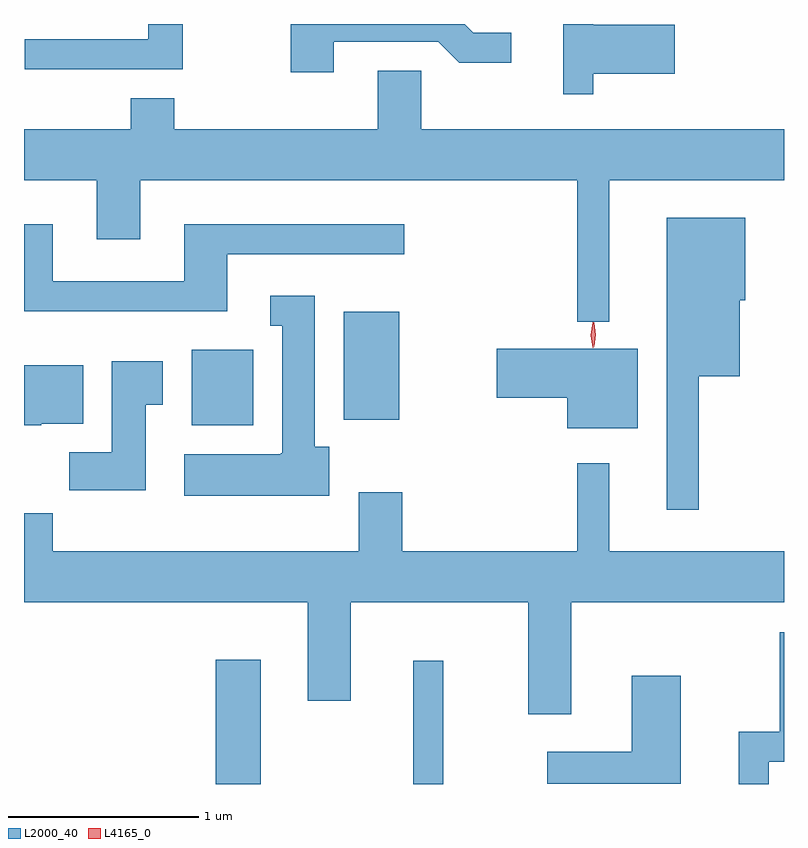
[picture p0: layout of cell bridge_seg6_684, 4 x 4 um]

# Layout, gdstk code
import gdstk
lib = gdstk.Library(unit=1e-6, precision=1e-09)
def R(c, l, rs):  # rectangles x0, y0, x1, y1
    for r in rs: c.add(gdstk.rectangle(r[:2], r[2:], *l))
def P(c, l, *ps):  # polygons
    for p in ps: c.add(gdstk.Polygon(p, *l))
L2000_40 = (2000, 40)
L4165_0 = (4165, 0)

bridge_seg6_684 = lib.new_cell('bridge_seg6_684')
R(bridge_seg6_684, L2000_40, [(211.966,1533.539,212.204,1534.194), (213.006,1533.539,213.164,1534.188), (211.841,1535.426,212.164,1535.824), (212.641,1535.456,212.934,1536.024)])
P(bridge_seg6_684, L2000_40, [(213.954,1537.276),(214.384,1537.276),(214.384,1537.534),(213.954,1537.534),(213.954,1537.539),(213.796,1537.539),(213.796,1537.168),(213.954,1537.168)],
  [(211.794,1537.539),(211.611,1537.539),(211.611,1537.459),(210.963,1537.459),(210.963,1537.301),(211.794,1537.301)],
  [(212.589,1537.446),(213.139,1537.446),(213.249,1537.336),(213.523,1537.336),(213.523,1537.494),(213.322,1537.494),(213.277,1537.539),(212.361,1537.539),(212.361,1537.286),(212.589,1537.286)],
  [(214.039,1536.716),(214.958,1536.716),(214.958,1536.984),(213.049,1536.984),(213.049,1537.294),(212.821,1537.294),(212.821,1536.984),(211.749,1536.984),(211.749,1537.149),(211.521,1537.149),(211.521,1536.984),(210.958,1536.984),(210.958,1536.716),(211.341,1536.716),(211.341,1536.406),(211.569,1536.406),(211.569,1536.716),(213.871,1536.716),(213.871,1535.973),(214.039,1535.973)],
  [(214.509,1535.686),(214.724,1535.686),(214.724,1536.086),(214.754,1536.086),(214.754,1536.519),(214.341,1536.519),(214.341,1534.983),(214.509,1534.983)],
  [(212.029,1536.326),(212.958,1536.326),(212.958,1536.484),(211.801,1536.484),(211.801,1536.184),(211.109,1536.184),(211.109,1536.484),(210.958,1536.484),(210.958,1536.026),(212.029,1536.026)],
  [(212.564,1535.314),(212.489,1535.314),(212.489,1536.109),(212.253,1536.109),(212.253,1535.951),(212.316,1535.951),(212.316,1535.28),(212.31,1535.28),(212.31,1535.274),(211.801,1535.274),(211.801,1535.056),(212.564,1535.056)],
  [(214.189,1535.829),(213.446,1535.829),(213.446,1535.571),(213.816,1535.571),(213.816,1535.411),(214.189,1535.411)],
  [(211.599,1535.536),(211.689,1535.536),(211.689,1535.764),(211.421,1535.764),(211.421,1535.284),(211.196,1535.284),(211.196,1535.086),(211.599,1535.086)],
  [(211.05,1535.436),(211.269,1535.436),(211.269,1535.744),(210.958,1535.744),(210.958,1535.426),(211.05,1535.426)],
  [(213.839,1534.496),(214.958,1534.496),(214.958,1534.764),(214.039,1534.764),(214.039,1535.228),(213.871,1535.228),(213.871,1534.764),(212.949,1534.764),(212.949,1535.074),(212.721,1535.074),(212.721,1534.764),(211.109,1534.764),(211.109,1534.964),(210.958,1534.964),(210.958,1534.496),(212.451,1534.496),(212.451,1533.976),(212.679,1533.976),(212.679,1534.496),(213.611,1534.496),(213.611,1533.906),(213.839,1533.906)],
  [(214.879,1533.656),(214.958,1533.656),(214.958,1534.339),(214.936,1534.339),(214.936,1533.814),(214.721,1533.814),(214.721,1533.539),(214.879,1533.539)],
  [(214.414,1534.109),(214.156,1534.109),(214.156,1533.709),(213.713,1533.709),(213.713,1533.541),(214.414,1533.541)])
P(bridge_seg6_684, L4165_0, [(213.958,1535.84),(213.958,1535.84),(213.948,1535.904),(213.957,1535.966),(213.958,1535.967),(213.958,1535.966),(213.968,1535.904),(213.959,1535.84)],
  [(213.952,1535.834),(213.952,1535.834),(213.942,1535.902),(213.952,1535.97),(213.952,1535.97),(213.953,1535.97),(213.962,1535.902),(213.953,1535.834)])

lib.write_gds('bridge_seg6_684.gds')
